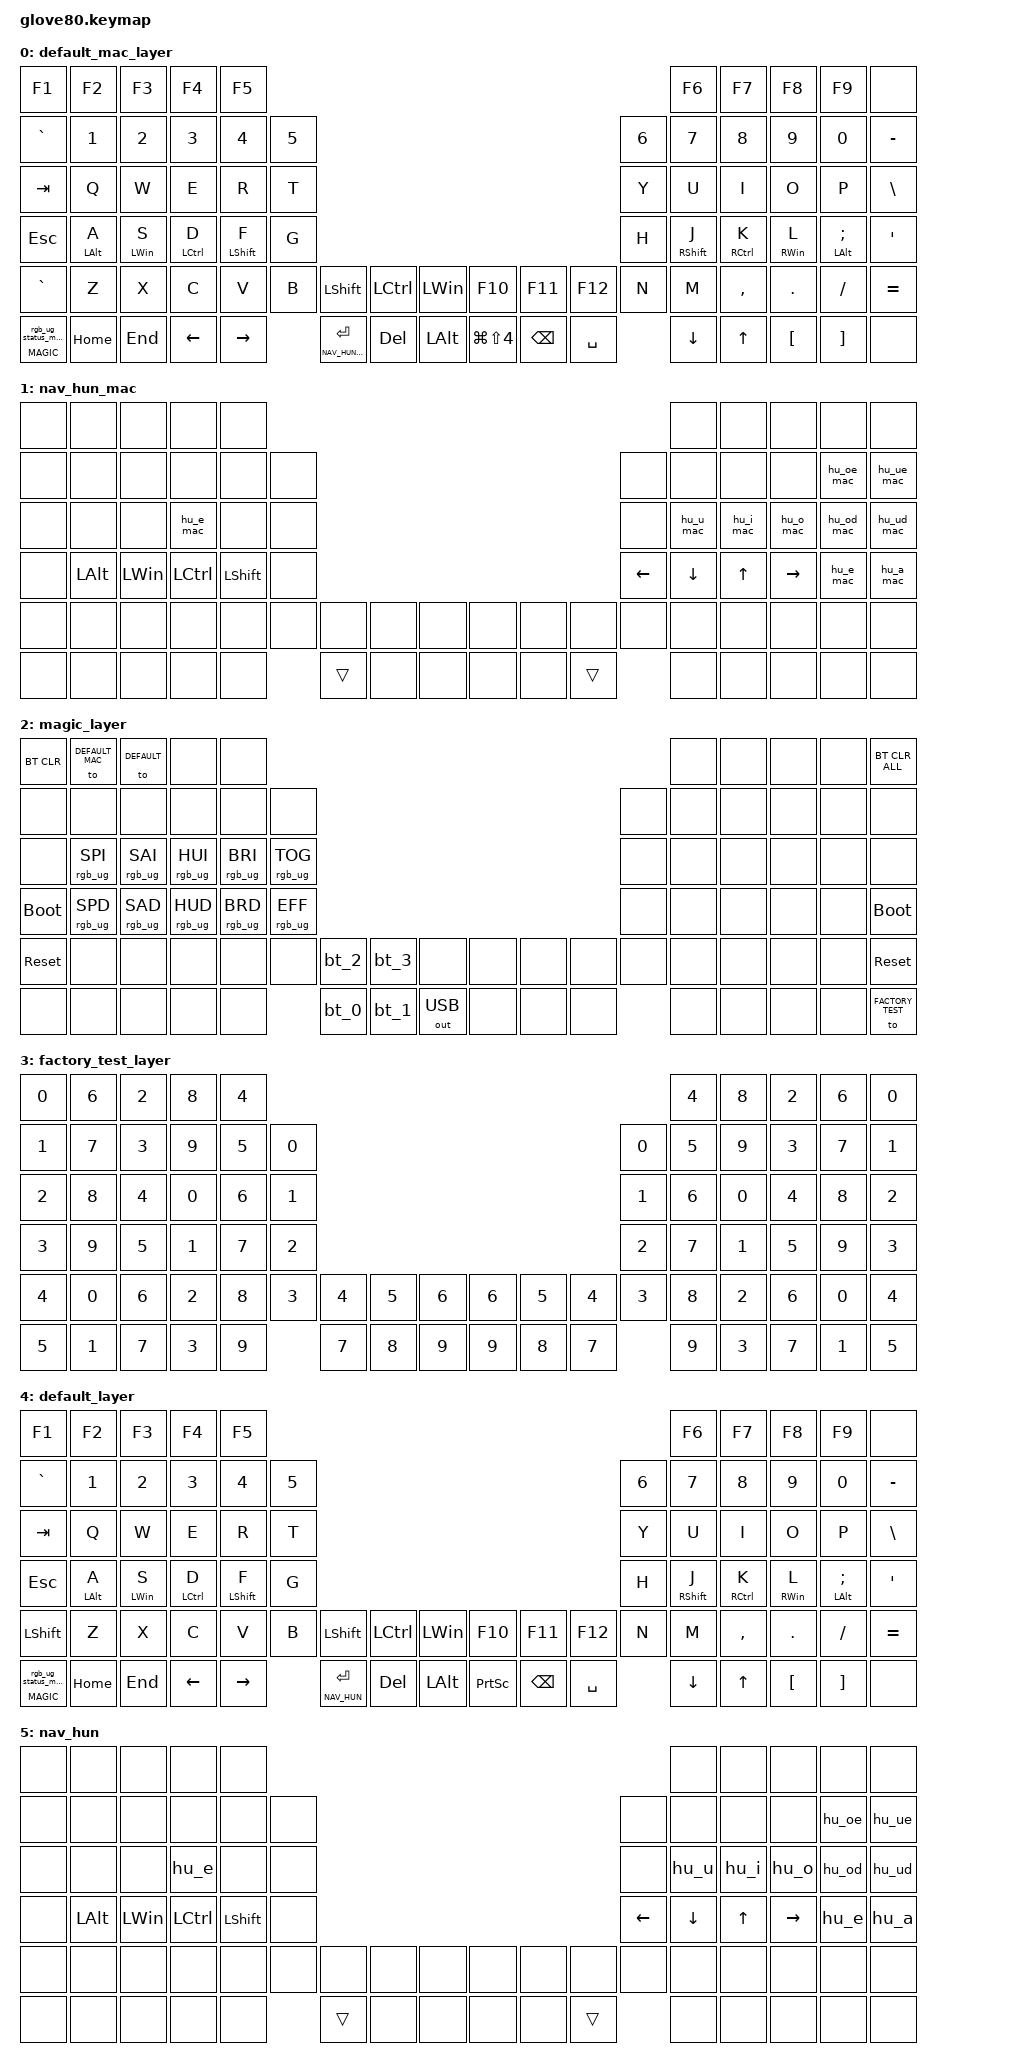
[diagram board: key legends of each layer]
/*
 * Copyright (c) 2020 The ZMK Contributors
 *
 * SPDX-License-Identifier: MIT
 */

#include <behaviors.dtsi>
#include <dt-bindings/zmk/bt.h>
#include <dt-bindings/zmk/keys.h>
#include <dt-bindings/zmk/outputs.h>
#include <dt-bindings/zmk/rgb.h>

#define HYPER LC(LS(LG(LALT)))

// layers

#define DEFAULT_MAC 0
#define NAV_HUN_MAC 1
#define MAGIC 2
#define FACTORY_TEST 3
#define DEFAULT 4
#define NAV_HUN 5

&mt { flavor = "balanced"; };

/ {
    behaviors {
        magic: magic_hold_tap {
            compatible = "zmk,behavior-hold-tap";
            label = "MAGIC_HOLD_TAP";
            #binding-cells = <2>;
            flavor = "tap-preferred";
            tapping-term-ms = <200>;
            bindings = <&mo>, <&rgb_ug_status_macro>;
        };

        hml: home_row_mod_left {
            compatible = "zmk,behavior-hold-tap";
            label = "HOME_ROW_MOD_LEFT";
            bindings = <&kp>, <&kp>;

            #binding-cells = <2>;
            tapping-term-ms = <280>;
            quick-tap-ms = <175>;
            require-prior-idle-ms = <150>;
            flavor = "balanced";
            hold-trigger-key-positions = <16 17 18 19 20 21 33 32 31 30 29 28 40 41 42 43 44 45 58 59 60 61 62 63 77 78 75 76 79 5 6 7 8 9>;
            hold-trigger-on-release;
        };

        hmr: home_row_mod_right {
            compatible = "zmk,behavior-hold-tap";
            label = "HOME_ROW_MOD_RIGHT";
            bindings = <&kp>, <&kp>;

            #binding-cells = <2>;
            tapping-term-ms = <280>;
            quick-tap-ms = <175>;
            require-prior-idle-ms = <150>;
            flavor = "balanced";
            hold-trigger-key-positions = <0 1 2 3 4 10 11 12 13 14 22 23 24 25 26 34 35 36 37 38 46 47 48 49 50 64 65 66 67 68 15 27 39 51>;
            hold-trigger-on-release;
        };

        // Acute

        hu_a: hungarian_a {
            compatible = "zmk,behavior-mod-morph";
            #binding-cells = <0>;
            bindings = <&m_acute_a>, <&m_acute_A_cap>;

            mods = <(MOD_LSFT|MOD_RSFT)>;
        };

        hu_e: hungarian_e {
            compatible = "zmk,behavior-mod-morph";
            #binding-cells = <0>;
            bindings = <&m_acute_e>, <&m_acute_E_cap>;

            mods = <(MOD_LSFT|MOD_RSFT)>;
        };

        hu_i: hungarian_i {
            compatible = "zmk,behavior-mod-morph";
            #binding-cells = <0>;
            bindings = <&m_acute_i>, <&m_acute_I_cap>;

            mods = <(MOD_LSFT|MOD_RSFT)>;
        };

        hu_o: hungarian_o {
            compatible = "zmk,behavior-mod-morph";
            #binding-cells = <0>;
            bindings = <&m_acute_o>, <&m_acute_O_cap>;

            mods = <(MOD_LSFT|MOD_RSFT)>;
        };

        hu_u: hungarian_u {
            compatible = "zmk,behavior-mod-morph";
            #binding-cells = <0>;
            bindings = <&m_acute_u>, <&m_acute_U_cap>;

            mods = <(MOD_LSFT|MOD_RSFT)>;
        };

        // Diaeresis (Umlaut)

        hu_oe: hungarian_oe {
            compatible = "zmk,behavior-mod-morph";
            #binding-cells = <0>;
            bindings = <&m_dia_o>, <&m_dia_O_cap>;

            mods = <(MOD_LSFT|MOD_RSFT)>;
        };

        hu_ue: hungarian_ue {
            compatible = "zmk,behavior-mod-morph";
            #binding-cells = <0>;
            bindings = <&m_dia_u>, <&m_dia_U_cap>;

            mods = <(MOD_LSFT|MOD_RSFT)>;
        };

        // Double Acute

        hu_od: hungarian_od {
            compatible = "zmk,behavior-mod-morph";
            #binding-cells = <0>;
            bindings = <&m_dac_o>, <&m_dac_O_cap>;

            mods = <(MOD_LSFT|MOD_RSFT)>;
        };

        hu_ud: hungarian_ud {
            compatible = "zmk,behavior-mod-morph";
            #binding-cells = <0>;
            bindings = <&m_dac_u>, <&m_dac_U_cap>;

            mods = <(MOD_LSFT|MOD_RSFT)>;
        };

        hu_a_mac: hungarian_a_mac {
            compatible = "zmk,behavior-mod-morph";
            #binding-cells = <0>;
            bindings = <&m_mac_acute_a>, <&m_mac_acute_A_cap>;

            mods = <(MOD_LSFT|MOD_RSFT)>;
        };

        hu_e_mac: hungarian_e_mac {
            compatible = "zmk,behavior-mod-morph";
            #binding-cells = <0>;
            bindings = <&m_mac_acute_e>, <&m_mac_acute_E_cap>;

            mods = <(MOD_LSFT|MOD_RSFT)>;
        };

        hu_i_mac: hungarian_i_mac {
            compatible = "zmk,behavior-mod-morph";
            #binding-cells = <0>;
            bindings = <&m_mac_acute_i>, <&m_mac_acute_I_cap>;

            mods = <(MOD_LSFT|MOD_RSFT)>;
        };

        hu_o_mac: hungarian_o_mac {
            compatible = "zmk,behavior-mod-morph";
            #binding-cells = <0>;
            bindings = <&m_mac_acute_o>, <&m_mac_acute_O_cap>;

            mods = <(MOD_LSFT|MOD_RSFT)>;
        };

        hu_u_mac: hungarian_u_mac {
            compatible = "zmk,behavior-mod-morph";
            #binding-cells = <0>;
            bindings = <&m_mac_acute_u>, <&m_mac_acute_U_cap>;

            mods = <(MOD_LSFT|MOD_RSFT)>;
        };

        hu_oe_mac: hungarian_oe_mac {
            compatible = "zmk,behavior-mod-morph";
            #binding-cells = <0>;
            bindings = <&m_mac_dia_o>, <&m_mac_dia_O_cap>;

            mods = <(MOD_LSFT|MOD_RSFT)>;
        };

        hu_ue_mac: hungarian_ue_mac {
            compatible = "zmk,behavior-mod-morph";
            #binding-cells = <0>;
            bindings = <&m_mac_dia_u>, <&m_mac_dia_U_cap>;

            mods = <(MOD_LSFT|MOD_RSFT)>;
        };

        hu_od_mac: hungarian_od_mac {
            compatible = "zmk,behavior-mod-morph";
            #binding-cells = <0>;
            bindings = <&m_mac_dac_o>, <&m_mac_dac_O_cap>;

            mods = <(MOD_LSFT|MOD_RSFT)>;
        };

        hu_ud_mac: hungarian_ud_mac {
            compatible = "zmk,behavior-mod-morph";
            #binding-cells = <0>;
            bindings = <&m_mac_dac_u>, <&m_mac_dac_U_cap>;

            mods = <(MOD_LSFT|MOD_RSFT)>;
        };
    };

    macros {
        rgb_ug_status_macro: rgb_ug_status_macro_0 {
            label = "RGB_UG_STATUS";
            compatible = "zmk,behavior-macro";
            #binding-cells = <0>;
            bindings = <&rgb_ug RGB_STATUS>;
        };

        bt_0: bt_profile_macro_0 {
            label = "BT_0";
            compatible = "zmk,behavior-macro";
            #binding-cells = <0>;
            bindings = <&out OUT_BLE &bt BT_SEL 0>;
        };

        bt_1: bt_profile_macro_1 {
            label = "BT_1";
            compatible = "zmk,behavior-macro";
            #binding-cells = <0>;
            bindings = <&out OUT_BLE &bt BT_SEL 1>;
        };

        bt_2: bt_profile_macro_2 {
            label = "BT_2";
            compatible = "zmk,behavior-macro";
            #binding-cells = <0>;
            bindings = <&out OUT_BLE &bt BT_SEL 2>;
        };

        bt_3: bt_profile_macro_3 {
            label = "BT_3";
            compatible = "zmk,behavior-macro";
            #binding-cells = <0>;
            bindings = <&out OUT_BLE &bt BT_SEL 3>;
        };


        // --- ACUTE ACCENTS (á, é, í, ó, ú) ---
        // Sequence: RALT -> Apostrophe (') -> Letter
        // Lowercase

        m_acute_a: m_acute_a {
            compatible = "zmk,behavior-macro";
            #binding-cells = <0>;
            bindings = <&macro_tap>, <&kp RALT &kp APOS &kp A>;
        };

        m_acute_e: m_acute_e {
            compatible = "zmk,behavior-macro";
            #binding-cells = <0>;
            bindings = <&macro_tap>, <&kp RALT &kp APOS &kp E>;
        };

        m_acute_i: m_acute_i {
            compatible = "zmk,behavior-macro";
            #binding-cells = <0>;
            bindings = <&macro_tap>, <&kp RALT &kp APOS &kp I>;
        };

        m_acute_o: m_acute_o {
            compatible = "zmk,behavior-macro";
            #binding-cells = <0>;
            bindings = <&macro_tap>, <&kp RALT &kp APOS &kp O>;
        };

        m_acute_u: m_acute_u {
            compatible = "zmk,behavior-macro";
            #binding-cells = <0>;
            bindings = <&macro_tap>, <&kp RALT &kp APOS &kp U>;
        };

        // Uppercase (Safely releases shift first)

        m_acute_A_cap: m_acute_A_cap {
            compatible = "zmk,behavior-macro";
            #binding-cells = <0>;
            bindings =
                <&macro_release>,
                <&kp LSHFT &kp RSHFT>,
                <&macro_tap>,
                <&kp RALT &kp APOS &kp LS(A)>;
        };

        m_acute_E_cap: m_acute_E_cap {
            compatible = "zmk,behavior-macro";
            #binding-cells = <0>;
            bindings =
                <&macro_release>,
                <&kp LSHFT &kp RSHFT>,
                <&macro_tap>,
                <&kp RALT &kp APOS &kp LS(E)>;
        };

        m_acute_I_cap: m_acute_I_cap {
            compatible = "zmk,behavior-macro";
            #binding-cells = <0>;
            bindings =
                <&macro_release>,
                <&kp LSHFT &kp RSHFT>,
                <&macro_tap>,
                <&kp RALT &kp APOS &kp LS(I)>;
        };

        m_acute_O_cap: m_acute_O_cap {
            compatible = "zmk,behavior-macro";
            #binding-cells = <0>;
            bindings =
                <&macro_release>,
                <&kp LSHFT &kp RSHFT>,
                <&macro_tap>,
                <&kp RALT &kp APOS &kp LS(O)>;
        };

        m_acute_U_cap: m_acute_U_cap {
            compatible = "zmk,behavior-macro";
            #binding-cells = <0>;
            bindings =
                <&macro_release>,
                <&kp LSHFT &kp RSHFT>,
                <&macro_tap>,
                <&kp RALT &kp APOS &kp LS(U)>;
        };

        // --- DIAERESIS / UMLAUT (ö, ü) ---
        // Sequence: RALT -> Quote (") -> Letter
        // Note: Since Quote is Shift+', we actually WANT Shift for the punctuation here.

        m_dia_o: m_dia_o {
            compatible = "zmk,behavior-macro";
            #binding-cells = <0>;
            bindings = <&macro_tap>, <&kp RALT &kp DQT &kp O>;
        };

        m_dia_u: m_dia_u {
            compatible = "zmk,behavior-macro";
            #binding-cells = <0>;
            bindings = <&macro_tap>, <&kp RALT &kp DQT &kp U>;
        };

        // For caps, we rely on the user holding shift, but we hardcode LS(O) to be safe

        m_dia_O_cap: m_dia_O_cap {
            compatible = "zmk,behavior-macro";
            #binding-cells = <0>;
            bindings = <&macro_tap>, <&kp RALT &kp DQT &kp LS(O)>;
        };

        m_dia_U_cap: m_dia_U_cap {
            compatible = "zmk,behavior-macro";
            #binding-cells = <0>;
            bindings = <&macro_tap>, <&kp RALT &kp DQT &kp LS(U)>;
        };

        // --- DOUBLE ACUTE (ő, ű) ---
        // Sequence: RALT -> Equal (=) -> Letter
        // Note: If shift is held, (=) becomes (+), so we must release shift for caps.

        m_dac_o: m_dac_o {
            compatible = "zmk,behavior-macro";
            #binding-cells = <0>;
            bindings = <&macro_tap>, <&kp RALT &kp EQUAL &kp O>;
        };

        m_dac_u: m_dac_u {
            compatible = "zmk,behavior-macro";
            #binding-cells = <0>;
            bindings = <&macro_tap>, <&kp RALT &kp EQUAL &kp U>;
        };

        m_dac_O_cap: m_dac_O_cap {
            compatible = "zmk,behavior-macro";
            #binding-cells = <0>;
            bindings =
                <&macro_release>,
                <&kp LSHFT &kp RSHFT>,
                <&macro_tap>,
                <&kp RALT &kp EQUAL &kp LS(O)>;
        };

        m_dac_U_cap: m_dac_U_cap {
            compatible = "zmk,behavior-macro";
            #binding-cells = <0>;
            bindings =
                <&macro_release>,
                <&kp LSHFT &kp RSHFT>,
                <&macro_tap>,
                <&kp RALT &kp EQUAL &kp LS(U)>;
        };

        // --- MAC HUNGARIAN (U.S. Extended) ---
        // Uses macOS dead keys: Option+E (acute), Option+U (umlaut), Option+J (double acute).

        m_mac_acute_a: m_mac_acute_a {
            compatible = "zmk,behavior-macro";
            wait-ms = <30>;
            tap-ms = <30>;
            #binding-cells = <0>;
            bindings =
                <&macro_press>,
                <&kp LALT>,
                <&macro_tap>,
                <&kp E>,
                <&macro_release>,
                <&kp LALT>,
                <&macro_tap>,
                <&kp A>;
        };

        m_mac_acute_e: m_mac_acute_e {
            compatible = "zmk,behavior-macro";
            wait-ms = <30>;
            tap-ms = <30>;
            #binding-cells = <0>;
            bindings =
                <&macro_press>,
                <&kp LALT>,
                <&macro_tap>,
                <&kp E>,
                <&macro_release>,
                <&kp LALT>,
                <&macro_tap>,
                <&kp E>;
        };

        m_mac_acute_i: m_mac_acute_i {
            compatible = "zmk,behavior-macro";
            wait-ms = <30>;
            tap-ms = <30>;
            #binding-cells = <0>;
            bindings =
                <&macro_press>,
                <&kp LALT>,
                <&macro_tap>,
                <&kp E>,
                <&macro_release>,
                <&kp LALT>,
                <&macro_tap>,
                <&kp I>;
        };

        m_mac_acute_o: m_mac_acute_o {
            compatible = "zmk,behavior-macro";
            wait-ms = <30>;
            tap-ms = <30>;
            #binding-cells = <0>;
            bindings =
                <&macro_press>,
                <&kp LALT>,
                <&macro_tap>,
                <&kp E>,
                <&macro_release>,
                <&kp LALT>,
                <&macro_tap>,
                <&kp O>;
        };

        m_mac_acute_u: m_mac_acute_u {
            compatible = "zmk,behavior-macro";
            wait-ms = <30>;
            tap-ms = <30>;
            #binding-cells = <0>;
            bindings =
                <&macro_press>,
                <&kp LALT>,
                <&macro_tap>,
                <&kp E>,
                <&macro_release>,
                <&kp LALT>,
                <&macro_tap>,
                <&kp U>;
        };

        m_mac_acute_A_cap: m_mac_acute_A_cap {
            compatible = "zmk,behavior-macro";
            wait-ms = <30>;
            tap-ms = <30>;
            #binding-cells = <0>;
            bindings =
                <&macro_release>,
                <&kp LSHFT &kp RSHFT>,
                <&macro_press>,
                <&kp LALT>,
                <&macro_tap>,
                <&kp E>,
                <&macro_release>,
                <&kp LALT>,
                <&macro_tap>,
                <&kp LS(A)>;
        };

        m_mac_acute_E_cap: m_mac_acute_E_cap {
            compatible = "zmk,behavior-macro";
            wait-ms = <30>;
            tap-ms = <30>;
            #binding-cells = <0>;
            bindings =
                <&macro_release>,
                <&kp LSHFT &kp RSHFT>,
                <&macro_press>,
                <&kp LALT>,
                <&macro_tap>,
                <&kp E>,
                <&macro_release>,
                <&kp LALT>,
                <&macro_tap>,
                <&kp LS(E)>;
        };

        m_mac_acute_I_cap: m_mac_acute_I_cap {
            compatible = "zmk,behavior-macro";
            wait-ms = <30>;
            tap-ms = <30>;
            #binding-cells = <0>;
            bindings =
                <&macro_release>,
                <&kp LSHFT &kp RSHFT>,
                <&macro_press>,
                <&kp LALT>,
                <&macro_tap>,
                <&kp E>,
                <&macro_release>,
                <&kp LALT>,
                <&macro_tap>,
                <&kp LS(I)>;
        };

        m_mac_acute_O_cap: m_mac_acute_O_cap {
            compatible = "zmk,behavior-macro";
            wait-ms = <30>;
            tap-ms = <30>;
            #binding-cells = <0>;
            bindings =
                <&macro_release>,
                <&kp LSHFT &kp RSHFT>,
                <&macro_press>,
                <&kp LALT>,
                <&macro_tap>,
                <&kp E>,
                <&macro_release>,
                <&kp LALT>,
                <&macro_tap>,
                <&kp LS(O)>;
        };

        m_mac_acute_U_cap: m_mac_acute_U_cap {
            compatible = "zmk,behavior-macro";
            wait-ms = <30>;
            tap-ms = <30>;
            #binding-cells = <0>;
            bindings =
                <&macro_release>,
                <&kp LSHFT &kp RSHFT>,
                <&macro_press>,
                <&kp LALT>,
                <&macro_tap>,
                <&kp E>,
                <&macro_release>,
                <&kp LALT>,
                <&macro_tap>,
                <&kp LS(U)>;
        };

        m_mac_dia_o: m_mac_dia_o {
            compatible = "zmk,behavior-macro";
            wait-ms = <30>;
            tap-ms = <30>;
            #binding-cells = <0>;
            bindings =
                <&macro_press>,
                <&kp LALT>,
                <&macro_tap>,
                <&kp U>,
                <&macro_release>,
                <&kp LALT>,
                <&macro_tap>,
                <&kp O>;
        };

        m_mac_dia_u: m_mac_dia_u {
            compatible = "zmk,behavior-macro";
            wait-ms = <30>;
            tap-ms = <30>;
            #binding-cells = <0>;
            bindings =
                <&macro_press>,
                <&kp LALT>,
                <&macro_tap>,
                <&kp U>,
                <&macro_release>,
                <&kp LALT>,
                <&macro_tap>,
                <&kp U>;
        };

        m_mac_dia_O_cap: m_mac_dia_O_cap {
            compatible = "zmk,behavior-macro";
            wait-ms = <30>;
            tap-ms = <30>;
            #binding-cells = <0>;
            bindings =
                <&macro_release>,
                <&kp LSHFT &kp RSHFT>,
                <&macro_press>,
                <&kp LALT>,
                <&macro_tap>,
                <&kp U>,
                <&macro_release>,
                <&kp LALT>,
                <&macro_tap>,
                <&kp LS(O)>;
        };

        m_mac_dia_U_cap: m_mac_dia_U_cap {
            compatible = "zmk,behavior-macro";
            wait-ms = <30>;
            tap-ms = <30>;
            #binding-cells = <0>;
            bindings =
                <&macro_release>,
                <&kp LSHFT &kp RSHFT>,
                <&macro_press>,
                <&kp LALT>,
                <&macro_tap>,
                <&kp U>,
                <&macro_release>,
                <&kp LALT>,
                <&macro_tap>,
                <&kp LS(U)>;
        };

        m_mac_dac_o: m_mac_dac_o {
            compatible = "zmk,behavior-macro";
            wait-ms = <30>;
            tap-ms = <30>;
            #binding-cells = <0>;
            bindings =
                <&macro_press>,
                <&kp LALT>,
                <&macro_tap>,
                <&kp J>,
                <&macro_release>,
                <&kp LALT>,
                <&macro_tap>,
                <&kp O>;
        };

        m_mac_dac_u: m_mac_dac_u {
            compatible = "zmk,behavior-macro";
            wait-ms = <30>;
            tap-ms = <30>;
            #binding-cells = <0>;
            bindings =
                <&macro_press>,
                <&kp LALT>,
                <&macro_tap>,
                <&kp J>,
                <&macro_release>,
                <&kp LALT>,
                <&macro_tap>,
                <&kp U>;
        };

        m_mac_dac_O_cap: m_mac_dac_O_cap {
            compatible = "zmk,behavior-macro";
            wait-ms = <30>;
            tap-ms = <30>;
            #binding-cells = <0>;
            bindings =
                <&macro_release>,
                <&kp LSHFT &kp RSHFT>,
                <&macro_press>,
                <&kp LALT>,
                <&macro_tap>,
                <&kp J>,
                <&macro_release>,
                <&kp LALT>,
                <&macro_tap>,
                <&kp LS(O)>;
        };

        m_mac_dac_U_cap: m_mac_dac_U_cap {
            compatible = "zmk,behavior-macro";
            wait-ms = <30>;
            tap-ms = <30>;
            #binding-cells = <0>;
            bindings =
                <&macro_release>,
                <&kp LSHFT &kp RSHFT>,
                <&macro_press>,
                <&kp LALT>,
                <&macro_tap>,
                <&kp J>,
                <&macro_release>,
                <&kp LALT>,
                <&macro_tap>,
                <&kp LS(U)>;
        };
    };

    keymap {
        compatible = "zmk,keymap";

        default_mac_layer {
            bindings = <
&kp F1          &kp F2       &kp F3       &kp F4        &kp F5                                                                                                                   &kp F6          &kp F7        &kp F8       &kp F9                   &none
&kp GRAVE       &kp N1       &kp N2       &kp N3        &kp N4         &kp N5                                                                                            &kp N6  &kp N7          &kp N8        &kp N9       &kp N0                   &kp MINUS
&kp TAB         &kp Q        &kp W        &kp E         &kp R          &kp T                                                                                             &kp Y   &kp U           &kp I         &kp O        &kp P                    &kp BSLH
&kp ESC         &hml LALT A  &hml LWIN S  &hml LCTRL D  &hml LSHIFT F  &kp G                                                                                             &kp H   &hmr RSHIFT J   &hmr RCTRL K  &hmr RWIN L  &hmr LEFT_ALT SEMICOLON  &kp SQT
&kp GRAVE       &kp Z        &kp X        &kp C         &kp V          &kp B   &kp LSHFT            &kp LCTRL  &kp LWIN  &kp F10               &kp F11        &kp F12    &kp N   &kp M           &kp COMMA     &kp DOT      &kp FSLH                 &kp EQUAL
&magic MAGIC 0  &kp HOME     &kp END      &kp LEFT      &kp RIGHT              &lt NAV_HUN_MAC RET  &kp DEL    &kp LALT  &kp LG(LS(NUMBER_4))  &kp BACKSPACE  &kp SPACE          &kp DOWN_ARROW  &kp UP_ARROW  &kp LBKT     &kp RBKT                 &none
            >;
        };

        nav_hun_mac {
            bindings = <
&none  &none     &none     &none      &none                                                                         &none           &none         &none            &none       &none
&none  &none     &none     &none      &none      &none                                              &none           &none           &none         &none            &hu_oe_mac  &hu_ue_mac
&none  &none     &none     &hu_e_mac  &none      &none                                              &none           &hu_u_mac       &hu_i_mac     &hu_o_mac        &hu_od_mac  &hu_ud_mac
&none  &kp LALT  &kp LWIN  &kp LCTRL  &kp LSHFT  &none                                              &kp LEFT_ARROW  &kp DOWN_ARROW  &kp UP_ARROW  &kp RIGHT_ARROW  &hu_e_mac   &hu_a_mac
&none  &none     &none     &none      &none      &none  &none   &none  &none  &none  &none  &none   &none           &none           &none         &none            &none       &none
&none  &none     &none     &none      &none             &trans  &none  &none  &none  &none  &trans                  &none           &none         &none            &none       &none
            >;
        };

        magic_layer {
            bindings = <
&bt BT_CLR   &to DEFAULT_MAC  &to DEFAULT  &none            &none                                                                                     &none  &none  &none  &none  &bt BT_CLR_ALL
&none        &none            &none            &none            &none            &none                                                             &none  &none  &none  &none  &none  &none
&none        &rgb_ug RGB_SPI  &rgb_ug RGB_SAI  &rgb_ug RGB_HUI  &rgb_ug RGB_BRI  &rgb_ug RGB_TOG                                                   &none  &none  &none  &none  &none  &none
&bootloader  &rgb_ug RGB_SPD  &rgb_ug RGB_SAD  &rgb_ug RGB_HUD  &rgb_ug RGB_BRD  &rgb_ug RGB_EFF                                                   &none  &none  &none  &none  &none  &bootloader
&sys_reset   &none            &none            &none            &none            &none            &bt_2  &bt_3  &none         &none  &none  &none  &none  &none  &none  &none  &none  &sys_reset
&none        &none            &none            &none            &none                             &bt_0  &bt_1  &out OUT_USB  &none  &none  &none         &none  &none  &none  &none  &to FACTORY_TEST
            >;
        };

        factory_test_layer {
            bindings = <
&kp N0  &kp N6  &kp N2  &kp N8  &kp N4                                                                  &kp N4  &kp N8  &kp N2  &kp N6  &kp N0
&kp N1  &kp N7  &kp N3  &kp N9  &kp N5  &kp N0                                                  &kp N0  &kp N5  &kp N9  &kp N3  &kp N7  &kp N1
&kp N2  &kp N8  &kp N4  &kp N0  &kp N6  &kp N1                                                  &kp N1  &kp N6  &kp N0  &kp N4  &kp N8  &kp N2
&kp N3  &kp N9  &kp N5  &kp N1  &kp N7  &kp N2                                                  &kp N2  &kp N7  &kp N1  &kp N5  &kp N9  &kp N3
&kp N4  &kp N0  &kp N6  &kp N2  &kp N8  &kp N3  &kp N4  &kp N5  &kp N6  &kp N6  &kp N5  &kp N4  &kp N3  &kp N8  &kp N2  &kp N6  &kp N0  &kp N4
&kp N5  &kp N1  &kp N7  &kp N3  &kp N9          &kp N7  &kp N8  &kp N9  &kp N9  &kp N8  &kp N7          &kp N9  &kp N3  &kp N7  &kp N1  &kp N5
            >;
        };

        default_layer {
            // ---------------------------------------------------------------------------------------------------------------------------------
            // |  F1   |  F2 |  F3 |  F4  |  F5  |                                                               |  F6   |  F7   |  F8  |   F9  |  F10 |
            // |   `   |  1  |  2  |  3   |  4   |  5   |                                                 |  6   |   7   |   8   |  9   |   0   |   -  |
            // |  TAB  |  Q  |  W  |  E   |  R   |  T   |                                                 |  Y   |   U   |   I   |  O   |   P   |   \  |
            // |  ESC  |  A  |  S  |  D   |  F   |  G   |                                                 |  H   |   J   |   K   |  L   |   ;   |   '  |
            // | SHIFT |  Z  |  X  |  C   |  V   |  B   |       |      | PSCR | | LGUI  |      |       |  N   |   M   |   ,   |  .   |   /   |   =  |
            // | MAGIC | HOME| END | LEFT | RIGHT|      | ENTER | DEL   |      | | BSPC  | SPACE |      |      |  DOWN |  UP   |  [   |   ]   |      |

            bindings = <
&kp F1          &kp F2       &kp F3       &kp F4        &kp F5                                                                                                          &kp F6          &kp F7        &kp F8       &kp F9                   &none
&kp GRAVE       &kp N1       &kp N2       &kp N3        &kp N4         &kp N5                                                                                   &kp N6  &kp N7          &kp N8        &kp N9       &kp N0                   &kp MINUS
&kp TAB         &kp Q        &kp W        &kp E         &kp R          &kp T                                                                                    &kp Y   &kp U           &kp I         &kp O        &kp P                    &kp BSLH
&kp ESC         &hml LALT A  &hml LWIN S  &hml LCTRL D  &hml LSHIFT F  &kp G                                                                                    &kp H   &hmr RSHIFT J   &hmr RCTRL K  &hmr RWIN L  &hmr LEFT_ALT SEMICOLON  &kp SQT
&kp LSHFT       &kp Z        &kp X        &kp C         &kp V          &kp B   &kp LSHIFT       &kp LCTRL  &kp LWIN  &kp F10          &kp F11        &kp F12    &kp N   &kp M           &kp COMMA     &kp DOT      &kp FSLH                 &kp EQUAL
&magic MAGIC 0  &kp HOME     &kp END      &kp LEFT      &kp RIGHT              &lt NAV_HUN RET  &kp DEL    &kp LALT  &kp PRINTSCREEN  &kp BACKSPACE  &kp SPACE          &kp DOWN_ARROW  &kp UP_ARROW  &kp LBKT     &kp RBKT                 &none
            >;
        };

        nav_hun {
            bindings = <
&none  &none     &none     &none      &none                                                                         &none           &none         &none            &none   &none
&none  &none     &none     &none      &none      &none                                              &none           &none           &none         &none            &hu_oe  &hu_ue
&none  &none     &none     &hu_e      &none      &none                                              &none           &hu_u           &hu_i         &hu_o            &hu_od  &hu_ud
&none  &kp LALT  &kp LWIN  &kp LCTRL  &kp LSHFT  &none                                              &kp LEFT_ARROW  &kp DOWN_ARROW  &kp UP_ARROW  &kp RIGHT_ARROW  &hu_e   &hu_a
&none  &none     &none     &none      &none      &none  &none   &none  &none  &none  &none  &none   &none           &none           &none         &none            &none   &none
&none  &none     &none     &none      &none             &trans  &none  &none  &none  &none  &trans                  &none           &none         &none            &none   &none
            >;
        };
    };
};
